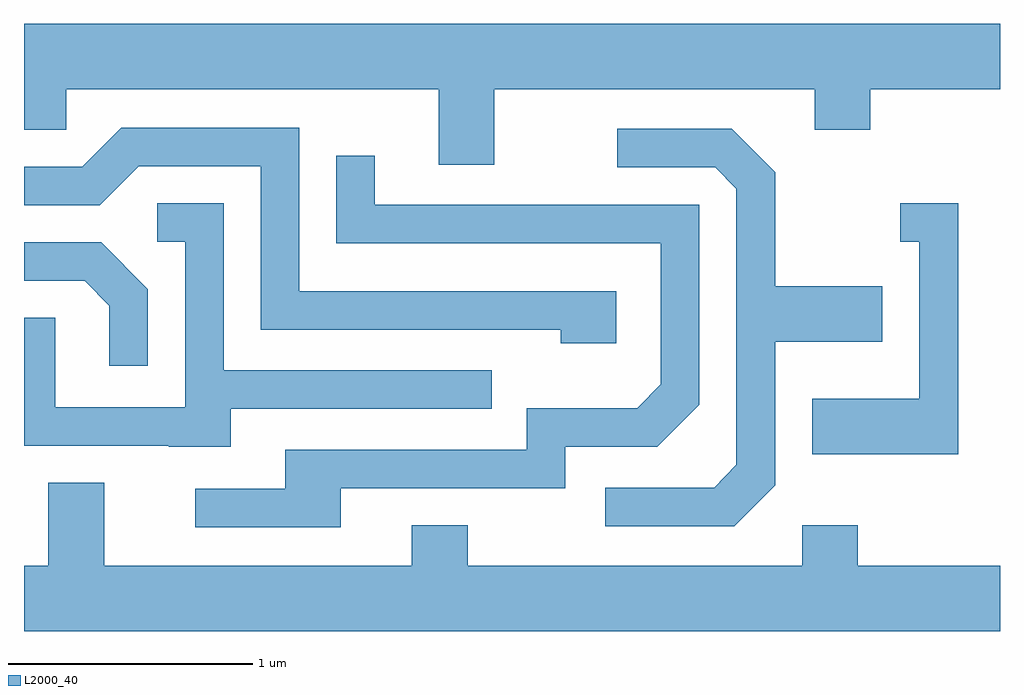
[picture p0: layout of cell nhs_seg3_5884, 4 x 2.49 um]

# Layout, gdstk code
import gdstk
lib = gdstk.Library(unit=1e-6, precision=1e-09)
def P(c, l, *ps):  # polygons
    for p in ps: c.add(gdstk.Polygon(p, *l))
L2000_40 = (2000, 40)

nhs_seg3_5884 = lib.new_cell('nhs_seg3_5884')
P(nhs_seg3_5884, L2000_40, [(359.539,1199.276),(360.851,1199.276),(360.851,1199.111),(361.079,1199.111),(361.079,1199.276),(361.611,1199.276),(361.611,1199.544),(357.611,1199.544),(357.611,1199.111),(357.784,1199.111),(357.784,1199.276),(359.311,1199.276),(359.311,1198.966),(359.539,1198.966)],
  [(360.039,1198.449),(358.739,1198.449),(358.739,1199.119),(358.009,1199.119),(357.849,1198.959),(357.611,1198.959),(357.611,1198.801),(357.922,1198.801),(358.082,1198.961),(358.581,1198.961),(358.581,1198.291),(359.811,1198.291),(359.811,1198.236),(360.039,1198.236)],
  [(360.689,1197.654),(360.689,1198.241),(361.129,1198.241),(361.129,1198.469),(360.689,1198.469),(360.689,1198.937),(360.512,1199.114),(360.043,1199.114),(360.043,1198.956),(360.444,1198.956),(360.531,1198.869),(360.531,1197.737),(360.439,1197.644),(359.993,1197.644),(359.993,1197.486),(360.522,1197.486)],
  [(358.909,1197.641),(359.829,1197.641),(359.829,1197.811),(360.207,1197.811),(360.379,1197.984),(360.379,1198.804),(359.049,1198.804),(359.049,1199.003),(358.891,1199.003),(358.891,1198.646),(360.221,1198.646),(360.221,1198.067),(360.124,1197.969),(359.671,1197.969),(359.671,1197.799),(358.681,1197.799),(358.681,1197.639),(358.313,1197.639),(358.313,1197.481),(358.909,1197.481)],
  [(361.439,1198.809),(361.203,1198.809),(361.203,1198.651),(361.281,1198.651),(361.281,1198.009),(360.841,1198.009),(360.841,1197.781),(361.439,1197.781)],
  [(358.459,1197.966),(359.528,1197.966),(359.528,1198.124),(358.429,1198.124),(358.429,1198.809),(358.158,1198.809),(358.158,1198.651),(358.271,1198.651),(358.271,1197.974),(357.739,1197.974),(357.739,1198.339),(357.611,1198.339),(357.611,1197.816),(358.205,1197.816),(358.205,1197.811),(358.459,1197.811)],
  [(358.119,1198.457),(357.927,1198.649),(357.611,1198.649),(357.611,1198.491),(357.859,1198.491),(357.961,1198.389),(357.961,1198.143),(358.119,1198.143)],
  [(361.611,1197.324),(361.029,1197.324),(361.029,1197.489),(360.801,1197.489),(360.801,1197.324),(359.429,1197.324),(359.429,1197.489),(359.201,1197.489),(359.201,1197.324),(357.939,1197.324),(357.939,1197.664),(357.711,1197.664),(357.711,1197.324),(357.611,1197.324),(357.611,1197.056),(361.611,1197.056)])

lib.write_gds('nhs_seg3_5884.gds')
